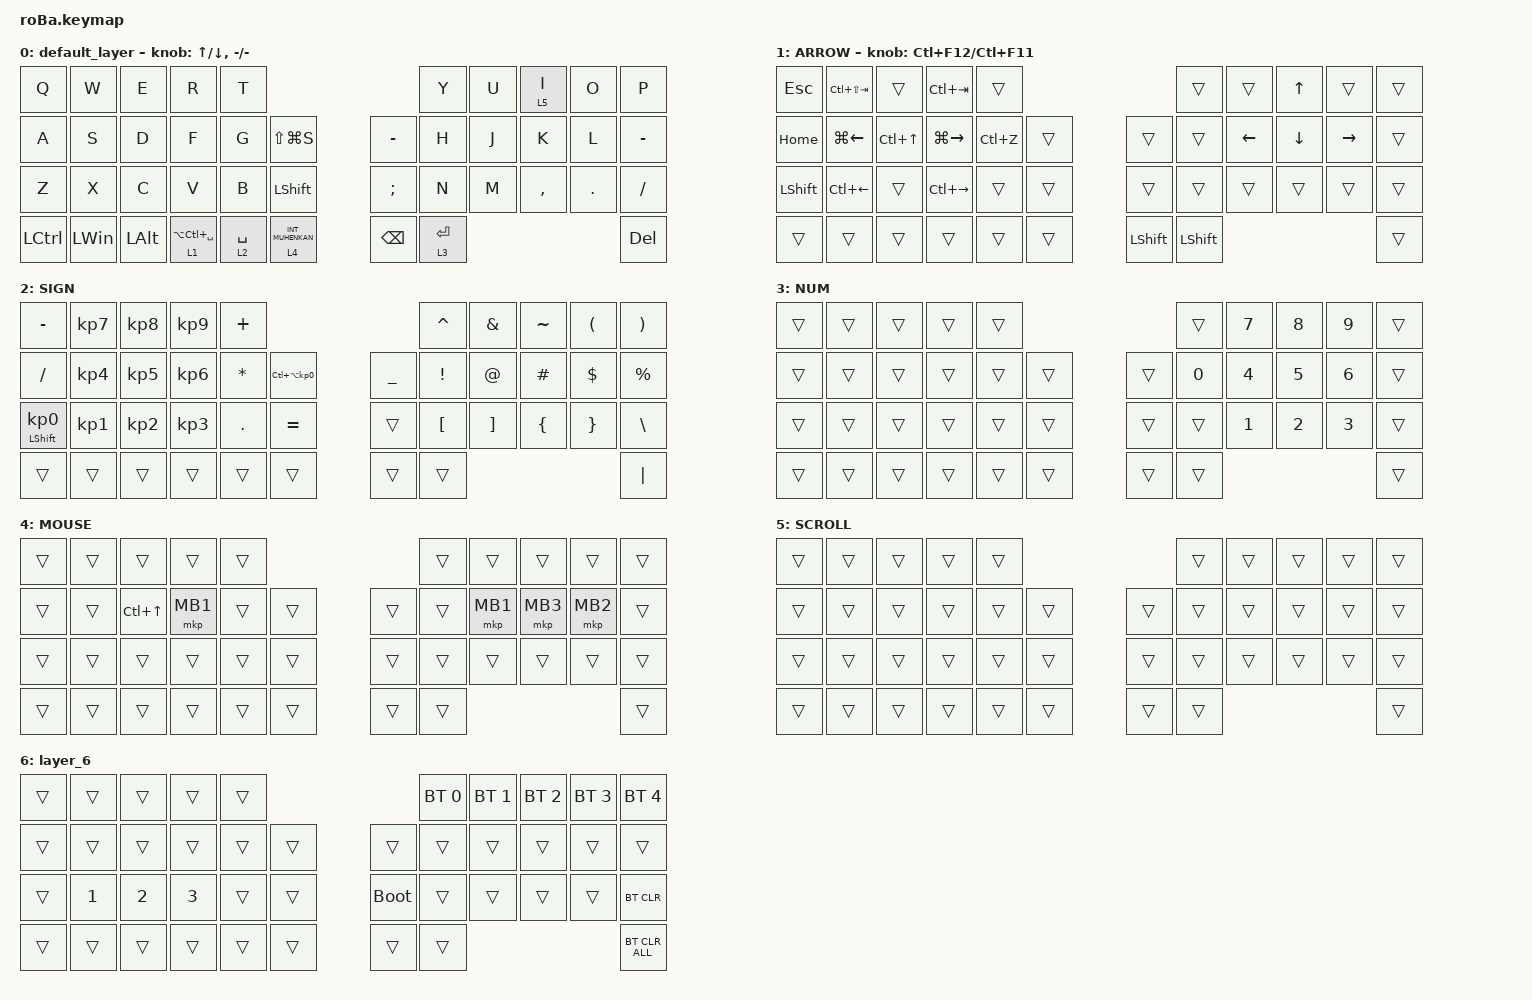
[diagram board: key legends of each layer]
#include <behaviors.dtsi>
#include <dt-bindings/zmk/bt.h>
#include <dt-bindings/zmk/keys.h>
#include <dt-bindings/zmk/pointing.h>

#define MOUSE 4
#define SCROLL 5
#define NUM 6

&mt {
    flavor = "balanced";
    quick-tap-ms = <0>;
};

/ {
    combos {
        compatible = "zmk,combos";

        tab {
            bindings = <&kp TAB>;
            key-positions = <11 12>;
        };

        shift_tab {
            bindings = <&kp LS(TAB)>;
            key-positions = <12 13>;
        };

        muhennkann {
            bindings = <&to_layer_0 INT_MUHENKAN>;
            key-positions = <11 10>;
        };

        double_quotation {
            bindings = <&kp DOUBLE_QUOTES>;
            key-positions = <20 21>;
        };

        eq {
            bindings = <&kp EQUAL>;
            key-positions = <24 25>;
        };
    };

    macros {
        to_layer_0: to_layer_0 {
            compatible = "zmk,behavior-macro-one-param";
            #binding-cells = <1>;
            bindings = <&to 0 &macro_param_1to1 &kp MACRO_PLACEHOLDER>;
            label = "TO_LAYER_0";
        };
    };

    behaviors {
        lt_to_layer_0: lt_to_layer_0 {
            compatible = "zmk,behavior-hold-tap";
            label = "LAYER_TAP_TO_0";
            bindings = <&mo>, <&to_layer_0>;

            #binding-cells = <2>;
            tapping-term-ms = <200>;
        };
    };

    keymap {
        compatible = "zmk,keymap";

        default_layer {
            bindings = <
&kp Q      &kp W         &kp E         &kp R                           &kp T                                                          &kp Y        &kp U  &lt 5 I    &kp O    &kp P
&kp A      &kp S         &kp D         &kp F                           &kp G        &kp LS(LG(S))                      &kp MINUS      &kp H        &kp J  &kp K      &kp L    &kp MINUS
&kp Z      &kp X         &kp C         &kp V                           &kp B        &kp LEFT_SHIFT                     &kp SEMICOLON  &kp N        &kp M  &kp COMMA  &kp DOT  &kp SLASH
&kp LCTRL  &kp LEFT_WIN  &kp LEFT_ALT  &lt_to_layer_0 1 LA(LC(SPACE))  &lt 2 SPACE  &lt_to_layer_0 4 INT_MUHENKAN      &kp BACKSPACE  &lt 3 ENTER                             &kp DEL
            >;

            sensor-bindings =
                <&inc_dec_kp UP_ARROW DOWN_ARROW>,
                <&inc_dec_kp MINUS MINUS>;
        };

        ARROW {
            bindings = <
&kp ESCAPE      &kp LC(LS(TAB))     &trans            &kp LC(TAB)          &trans                                 &trans          &trans          &kp UP_ARROW    &trans           &trans
&kp HOME        &kp LG(LEFT_ARROW)  &kp LC(UP_ARROW)  &kp LG(RIGHT_ARROW)  &kp LC(Z)  &trans      &trans          &trans          &kp LEFT_ARROW  &kp DOWN_ARROW  &kp RIGHT_ARROW  &trans
&kp LEFT_SHIFT  &kp LC(LEFT_ARROW)  &trans            &kp LC(RIGHT_ARROW)  &trans     &trans      &trans          &trans          &trans          &trans          &trans           &trans
&trans          &trans              &trans            &trans               &trans     &trans      &kp LEFT_SHIFT  &kp LEFT_SHIFT                                                   &trans
            >;

            sensor-bindings = <&inc_dec_kp LC(F12) LC(F11)>;
        };

        SIGN {
            bindings = <
&kp MINUS                   &kp KP_NUMBER_7  &kp KP_NUMBER_8  &kp KP_NUMBER_9  &kp PLUS                                                   &kp CARET         &kp AMPERSAND      &kp TILDE       &kp LEFT_PARENTHESIS  &kp RIGHT_PARENTHESIS
&kp SLASH                   &kp KP_NUMBER_4  &kp KP_NUMBER_5  &kp KP_NUMBER_6  &kp ASTERISK  &kp LC(LA(KP_NUMBER_0))      &kp UNDERSCORE  &kp EXCLAMATION   &kp AT_SIGN        &kp HASH        &kp DOLLAR            &kp PERCENT
&mt LEFT_SHIFT KP_NUMBER_0  &kp KP_NUMBER_1  &kp KP_NUMBER_2  &kp KP_NUMBER_3  &kp PERIOD    &kp EQUAL                    &trans          &kp LEFT_BRACKET  &kp RIGHT_BRACKET  &kp LEFT_BRACE  &kp RIGHT_BRACE       &kp BACKSLASH
&trans                      &trans           &trans           &trans           &trans        &trans                       &trans          &trans                                                                     &kp PIPE
            >;
        };

        NUM {
            bindings = <
&trans  &trans  &trans  &trans  &trans                      &trans  &kp N7        &kp NUMBER_8  &kp NUMBER_9  &trans
&trans  &trans  &trans  &trans  &trans  &trans      &trans  &kp N0  &kp NUMBER_4  &kp N5        &kp NUMBER_6  &trans
&trans  &trans  &trans  &trans  &trans  &trans      &trans  &trans  &kp NUMBER_1  &kp NUMBER_2  &kp NUMBER_3  &trans
&trans  &trans  &trans  &trans  &trans  &trans      &trans  &trans                                            &trans
            >;
        };

        MOUSE {
            bindings = <
&trans  &trans  &trans            &trans    &trans                      &trans  &trans    &trans    &trans    &trans
&trans  &trans  &kp LC(UP_ARROW)  &mkp MB1  &trans  &trans      &trans  &trans  &mkp MB1  &mkp MB3  &mkp MB2  &trans
&trans  &trans  &trans            &trans    &trans  &trans      &trans  &trans  &trans    &trans    &trans    &trans
&trans  &trans  &trans            &trans    &trans  &trans      &trans  &trans                                &trans
            >;
        };

        SCROLL {
            bindings = <
&trans  &trans  &trans  &trans  &trans                      &trans  &trans  &trans  &trans  &trans
&trans  &trans  &trans  &trans  &trans  &trans      &trans  &trans  &trans  &trans  &trans  &trans
&trans  &trans  &trans  &trans  &trans  &trans      &trans  &trans  &trans  &trans  &trans  &trans
&trans  &trans  &trans  &trans  &trans  &trans      &trans  &trans                          &trans
            >;
        };

        layer_6 {
            bindings = <
&trans  &trans        &trans        &trans        &trans                           &bt BT_SEL 0  &bt BT_SEL 1  &bt BT_SEL 2  &bt BT_SEL 3  &bt BT_SEL 4
&trans  &trans        &trans        &trans        &trans  &trans      &trans       &trans        &trans        &trans        &trans        &trans
&trans  &kp NUMBER_1  &kp NUMBER_2  &kp NUMBER_3  &trans  &trans      &bootloader  &trans        &trans        &trans        &trans        &bt BT_CLR
&trans  &trans        &trans        &trans        &trans  &trans      &trans       &trans                                                  &bt BT_CLR_ALL
            >;
        };
    };
};
